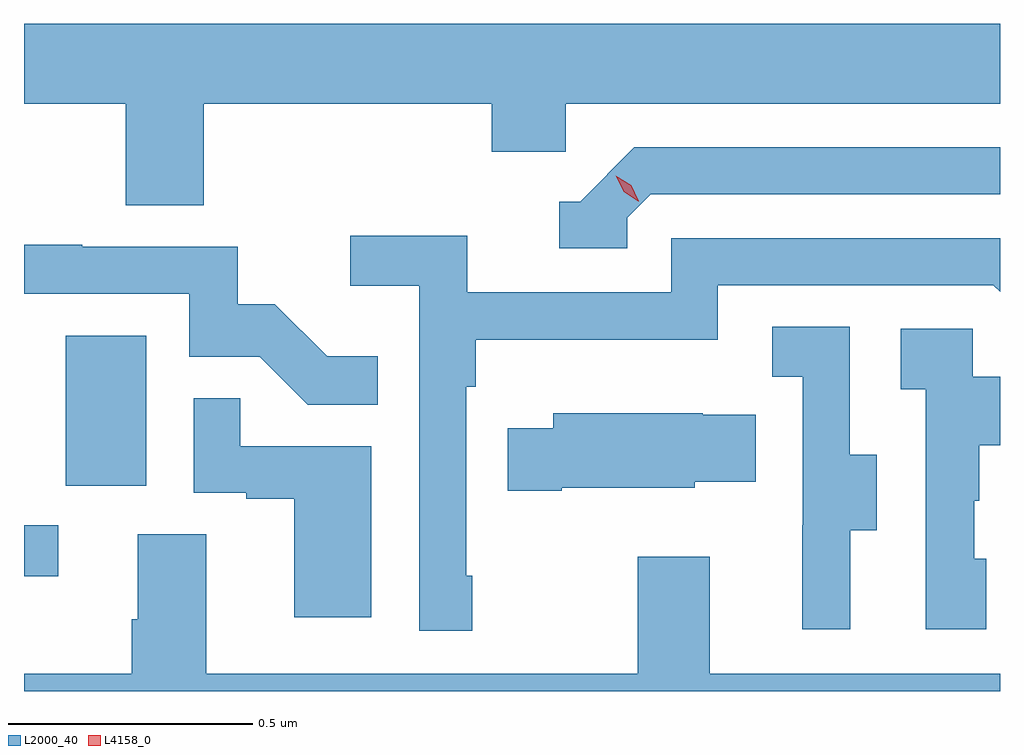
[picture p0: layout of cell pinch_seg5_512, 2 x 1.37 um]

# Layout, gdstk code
import gdstk
lib = gdstk.Library(unit=1e-6, precision=1e-09)
def R(c, l, rs):  # rectangles x0, y0, x1, y1
    for r in rs: c.add(gdstk.rectangle(r[:2], r[2:], *l))
def P(c, l, *ps):  # polygons
    for p in ps: c.add(gdstk.Polygon(p, *l))
L2000_40 = (2000, 40)
L4158_0 = (4158, 0)

pinch_seg5_512 = lib.new_cell('pinch_seg5_512')
R(pinch_seg5_512, L2000_40, [(901.164,841.14,901.234,841.245), (901.25,841.326,901.414,841.633)])
P(pinch_seg5_512, L2000_40, [(901.532,842.108),(902.123,842.108),(902.123,842.01),(902.274,842.01),(902.274,842.108),(903.164,842.108),(903.164,842.272),(901.164,842.272),(901.164,842.108),(901.372,842.108),(901.372,841.9),(901.532,841.9)],
  [(902.4,841.875),(902.448,841.923),(903.164,841.923),(903.164,842.019),(902.415,842.019),(902.304,841.908),(902.261,841.908),(902.261,841.812),(902.4,841.812)],
  [(902.083,841.141),(902.07,841.141),(902.07,841.529),(902.09,841.529),(902.09,841.625),(902.586,841.625),(902.586,841.737),(903.15,841.737),(903.164,841.723),(903.164,841.833),(902.49,841.833),(902.49,841.722),(902.072,841.722),(902.072,841.838),(901.833,841.838),(901.833,841.736),(901.974,841.736),(901.974,841.029),(902.083,841.029)],
  [(901.889,841.591),(901.785,841.591),(901.678,841.698),(901.602,841.698),(901.602,841.815),(901.283,841.815),(901.283,841.82),(901.164,841.82),(901.164,841.719),(901.503,841.719),(901.503,841.59),(901.647,841.59),(901.745,841.492),(901.889,841.492)],
  [(902.857,841.234),(902.911,841.234),(902.911,841.389),(902.856,841.389),(902.856,841.652),(902.697,841.652),(902.697,841.549),(902.76,841.549),(902.76,841.245),(902.759,841.245),(902.759,841.032),(902.857,841.032)],
  [(903.136,841.176),(903.111,841.176),(903.111,841.295),(903.121,841.295),(903.121,841.409),(903.164,841.409),(903.164,841.549),(903.108,841.549),(903.108,841.647),(902.961,841.647),(902.961,841.523),(903.012,841.523),(903.012,841.032),(903.136,841.032)],
  [(901.876,841.407),(901.607,841.407),(901.607,841.505),(901.512,841.505),(901.512,841.311),(901.619,841.311),(901.619,841.299),(901.718,841.299),(901.718,841.056),(901.876,841.056)],
  [(902.266,841.322),(902.538,841.322),(902.538,841.334),(902.663,841.334),(902.663,841.471),(902.555,841.471),(902.555,841.474),(902.249,841.474),(902.249,841.444),(902.155,841.444),(902.155,841.315),(902.266,841.315)],
  [(903.164,840.94),(902.569,840.94),(902.569,841.18),(902.422,841.18),(902.422,840.94),(901.537,840.94),(901.537,841.226),(901.397,841.226),(901.397,841.052),(901.385,841.052),(901.385,840.94),(901.164,840.94),(901.164,840.905),(903.164,840.905)])
P(pinch_seg5_512, L4158_0, [(902.423,841.909),(902.393,841.928),(902.377,841.961),(902.377,841.961),(902.377,841.961),(902.408,841.941),(902.424,841.909),(902.424,841.909)])

lib.write_gds('pinch_seg5_512.gds')
